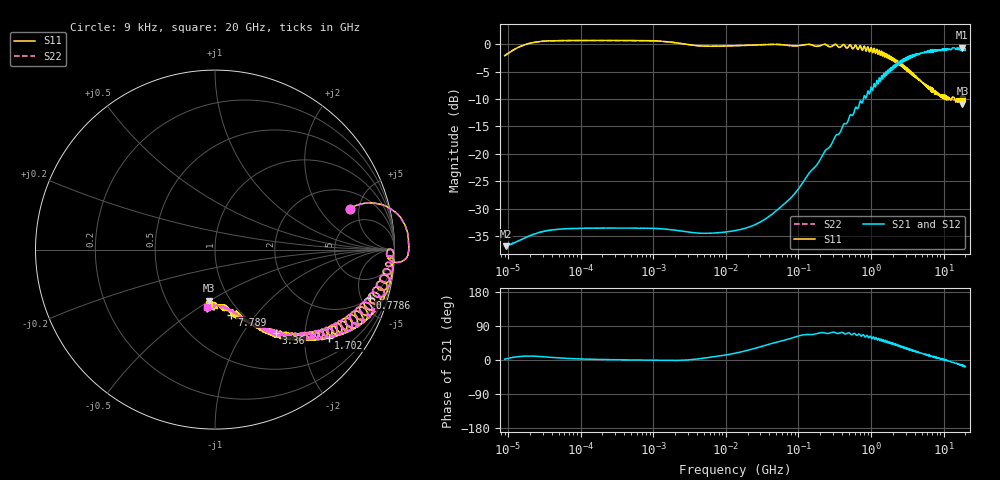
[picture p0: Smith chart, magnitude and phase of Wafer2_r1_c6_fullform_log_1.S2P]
!  2-Port S-parameters saved by WinCal
! VAR MeasName=S-Parameters (CALIBRATED_DATA) read from VNA (P5004A)
! VAR MeasDate=26/04/2024 19:10:55
! VAR NAME=Wafer2_r1_c6_fullform_log
! VAR FILENAME=Wafer2_r1_c6_fullform_log_1.S2P
! VAR DATE=26/04/2024 19:10:55
! VAR PHYS_PORTS=1,2
! VAR ObjTypeName=DATASET
! VAR IndexType=Frequency
# Hz S MA R 50
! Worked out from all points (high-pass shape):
!   2000 points, 9 kHz to 20 GHz, reference 50 ohm
!   highest |S21| = -0.64 dB at 18.05 GHz (marker M1); lowest = -36.9 dB at 9.267 kHz (marker M2)
!   |S21| within 3 dB of the highest: 2.354 GHz to 2.42 GHz (65.91 MHz wide, 2.76 % of centre); 2.44 GHz to end of sweep (the widest 2 of 3)
!   lowest |S11| = -10.9 dB at 18.19 GHz (marker M3), VSWR 1.80, Z = 39.8 - j24.6 ohm
!   |S11| at or under -10 dB: 12.21 GHz to 12.87 GHz (659.4 MHz wide, 5.26 % of centre); 14.34 GHz to 15.2 GHz (866.5 MHz wide, 5.87 % of centre); 15.43 GHz to 15.97 GHz (541.4 MHz wide, 3.45 % of centre) (the widest 3 of 17)
!   |S22| runs from -10.6 to 0.7 dB; largest |S21 - S12| = 0.037
!   S11 on the Smith chart (normalised r, x): 9 kHz: 3.39, +4.01; 778.6 MHz: 2.04, -5.92; 1.702 GHz: 0.94, -2.61; 3.36 GHz: 1.02, -1.43; 7.789 GHz: 0.90, -0.76; 20 GHz: 0.78, -0.52
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9000  0.785 16.8  0.01437 2.4  0.01462 1.4  0.7848 16.8
9267.07  0.795 17.0  0.01433 2.6  0.01468 1.9  0.7946 17.0
14264.82  0.9433 15.7  0.01615 9.3  0.01628 8.3  0.9428 15.7
26169.16  1.052 9.5  0.01899 9.5  0.01914 9.0  1.052 9.5
103439.5  1.079 2.0  0.02087 2.7  0.02101 2.7  1.079 2.0
1180198  1.068 -2.5  0.02074 -0.9  0.02092 -0.8  1.067 -2.5
4530556  0.9624 -2.6  0.01883 3.8  0.01903 3.7  0.9621 -2.5
1.346554e7  0.9675 0.1  0.01987 17.9  0.02003 17.4  0.9674 0.1
4.46602e7  0.9946 -1.2  0.02849 44.4  0.02823 44.2  0.9949 -1.2
8.374696e7  0.964 -2.6  0.04132 58.8  0.04151 59.2  0.9641 -2.6
1.536358e8  0.9815 -5.4  0.07091 67.2  0.07022 67.3  0.9821 -5.3
2.966476e8  0.9645 -6.4  0.1279 73.3  0.1291 73.2  0.9642 -6.4
7.786429e8  0.9033 -17.2  0.3058 66.6  0.3069 66.7  0.9035 -17.1
1.043128e9  0.8458 -27.1  0.38 57.4  0.3801 57.5  0.8473 -26.9
1.702399e9  0.8026 -38.0  0.5792 46.8  0.5757 46.8  0.8047 -37.3
1.752917e9  0.7418 -36.6  0.5459 47.8  0.5488 47.8  0.7412 -36.5
3.359964e9  0.578 -53.8  0.7637 29.7  0.7662 29.5  0.5757 -53.4
7.788564e9  0.3739 -75.8  0.8889 6.3  0.8833 5.6  0.3624 -73.9
1.35755e10  0.3288 -87.7  0.9253 -5.9  0.9214 -6.9  0.3123 -87.7
1.805428e10  0.3428 -97.1  0.9295 -14.7  0.9022 -16.2  0.296 -93.6
1.818676e10  0.2865 -97.1  0.8832 -16.3  0.871 -14.0  0.3267 -92.2
2e10  0.3046 -96.6  0.8869 -17.4  0.9006 -16.6  0.3248 -97.8
